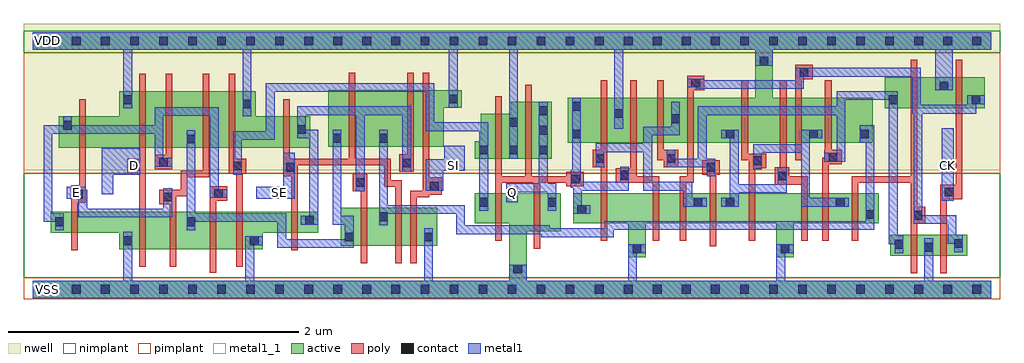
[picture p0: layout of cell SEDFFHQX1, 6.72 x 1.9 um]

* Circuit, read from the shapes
.subckt SEDFFHQX1 CK D E Q SE SI VDD VSS
M1 VSS E n1 VSS nfet w=0.145u l=0.045u
M2 n2 D VSS VSS nfet w=0.26u l=0.045u
M3 n3 E n2 VSS nfet w=0.26u l=0.045u
M4 n4 n1 n3 VSS nfet w=0.26u l=0.045u
M5 VSS n5 n4 VSS nfet w=0.26u l=0.045u
M6 n6 SE VSS VSS nfet w=0.145u l=0.045u
M7 n7 n6 n3 VSS nfet w=0.26u l=0.045u
M8 n8 SE n7 VSS nfet w=0.26u l=0.045u
M9 VSS SI n8 VSS nfet w=0.26u l=0.045u
M10 VSS n9 n5 VSS nfet w=0.205u l=0.045u
M11 Q n9 VSS VSS nfet w=0.26u l=0.045u
M12 VSS n10 n9 VSS nfet w=0.205u l=0.045u
M13 n11 n9 VSS VSS nfet w=0.205u l=0.045u
M14 n10 n12 n11 VSS nfet w=0.205u l=0.045u
M15 n13 n14 n10 VSS nfet w=0.205u l=0.045u
M16 VSS n15 n13 VSS nfet w=0.205u l=0.045u
M17 n16 n13 VSS VSS nfet w=0.205u l=0.045u
M18 n15 n14 n16 VSS nfet w=0.205u l=0.045u
M19 n7 n12 n15 VSS nfet w=0.205u l=0.045u
M20 VSS n12 n14 VSS nfet w=0.145u l=0.045u
M21 n12 CK VSS VSS nfet w=0.145u l=0.045u
M22 VDD E n1 VDD pfet w=0.215u l=0.045u
M23 n17 D VDD VDD pfet w=0.39u l=0.045u
M24 n3 n1 n17 VDD pfet w=0.39u l=0.045u
M25 n18 E n3 VDD pfet w=0.39u l=0.045u
M26 VDD n5 n18 VDD pfet w=0.39u l=0.045u
M27 n6 SE VDD VDD pfet w=0.215u l=0.045u
M28 n7 SE n3 VDD pfet w=0.39u l=0.045u
M29 n19 n6 n7 VDD pfet w=0.39u l=0.045u
M30 VDD SI n19 VDD pfet w=0.39u l=0.045u
M31 VDD n9 n5 VDD pfet w=0.31u l=0.045u
M32 Q n9 VDD VDD pfet w=0.39u l=0.045u
M33 VDD n10 n9 VDD pfet w=0.31u l=0.045u
M34 n20 n9 VDD VDD pfet w=0.31u l=0.045u
M35 n10 n14 n20 VDD pfet w=0.31u l=0.045u
M36 n13 n12 n10 VDD pfet w=0.31u l=0.045u
M37 VDD n15 n13 VDD pfet w=0.31u l=0.045u
M38 n21 n13 VDD VDD pfet w=0.31u l=0.045u
M39 n15 n12 n21 VDD pfet w=0.31u l=0.045u
M40 n7 n14 n15 VDD pfet w=0.31u l=0.045u
M41 VDD n12 n14 VDD pfet w=0.215u l=0.045u
M42 n12 CK VDD VDD pfet w=0.215u l=0.045u
.ends

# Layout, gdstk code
import gdstk
lib = gdstk.Library(unit=1e-6, precision=5e-10)
def R(c, l, rs):  # rectangles x0, y0, x1, y1
    for r in rs: c.add(gdstk.rectangle(r[:2], r[2:], *l))
def A(c, l, x, y, w, h, nx, ny, dx, dy):  # array of equal rectangles
    R(c, l, [(x+i*dx, y+j*dy, x+i*dx+w, y+j*dy+h) for i in range(nx) for j in range(ny)])
def P(c, l, *ps):  # polygons
    for p in ps: c.add(gdstk.Polygon(p, *l))
active = (1, 0)
nwell = (2, 0)
poly = (3, 0)
nimplant = (4, 0)
pimplant = (5, 0)
contact = (6, 0)
metal1 = (7, 0)
metal1_1 = (7, 1)

sedffhqx1 = lib.new_cell('SEDFFHQX1')
R(sedffhqx1, active, [(5.905,0.23,6.435,0.375), (2.12,0.3,2.785,0.56), (5.865,1.245,6.555,1.46)])
P(sedffhqx1, active, [(0,1.77),(6.6,1.77),(6.6,1.65),(5.095,1.65),(5.095,1.32),(5.785,1.32),(5.785,1.01),(3.685,1.01),(3.685,1.32),(4.975,1.32),(4.975,1.65),(0,1.65)],
  [(0.595,1.365),(1.535,1.365),(1.535,1.19),(1.91,1.19),(1.91,0.975),(0.18,0.975),(0.18,1.19),(0.595,1.19)],
  [(2.035,1.37),(2.955,1.37),(2.955,1.25),(2.83,1.25),(2.83,0.98),(2.035,0.98)],
  [(3.29,1.29),(3.575,1.29),(3.575,0.9),(3.045,0.9),(3.045,1.02),(3.085,1.02),(3.085,1.21),(3.29,1.21)],
  [(3.045,0.66),(3.635,0.66),(3.635,0.4),(3.4,0.4),(3.4,0.06),(6.6,0.06),(6.6,-0.06),(0,-0.06),(0,0.06),(3.28,0.06),(3.28,0.455),(3.045,0.455)],
  [(0.125,0.535),(1.965,0.535),(1.965,0.39),(1.585,0.39),(1.585,0.275),(0.595,0.275),(0.595,0.39),(0.125,0.39)],
  [(3.72,0.66),(5.825,0.66),(5.825,0.455),(5.24,0.455),(5.24,0.22),(5.12,0.22),(5.12,0.455),(4.22,0.455),(4.22,0.22),(4.1,0.22),(4.1,0.455),(3.72,0.455)])
R(sedffhqx1, nwell, [(-0.06,0.82,6.66,1.83)])
P(sedffhqx1, poly, [(0.735,1.485),(0.78,1.485),(0.78,0.155),(0.735,0.155),(0.735,0.8),(0.65,0.8),(0.65,0.9),(0.735,0.9)],
  [(0.915,1.485),(0.96,1.485),(0.96,0.825),(0.84,0.825),(0.84,0.925),(0.915,0.925)],
  [(1.17,1.485),(1.215,1.485),(1.215,0.77),(1.065,0.77),(1.065,0.64),(0.99,0.64),(0.99,0.155),(0.945,0.155),(0.945,0.585),(0.87,0.585),(0.87,0.685),(1.02,0.685),(1.02,0.815),(1.17,0.815)],
  [(1.35,1.485),(1.395,1.485),(1.395,0.9),(1.47,0.9),(1.47,0.8),(1.445,0.8),(1.445,0.155),(1.4,0.155),(1.4,0.8),(1.35,0.8)],
  [(0.32,1.31),(0.365,1.31),(0.365,0.595),(0.31,0.595),(0.31,0.27),(0.265,0.27),(0.265,0.715),(0.32,0.715)],
  [(1.725,1.31),(1.77,1.31),(1.77,0.9),(2.175,0.9),(2.175,1.49),(2.22,1.49),(2.22,0.9),(2.465,0.9),(2.465,0.75),(2.54,0.75),(2.54,0.18),(2.495,0.18),(2.495,0.705),(2.42,0.705),(2.42,0.855),(1.825,0.855),(1.825,0.27),(1.78,0.27),(1.78,0.78),(1.725,0.78)],
  [(2.58,1.49),(2.625,1.49),(2.625,0.81),(2.525,0.81),(2.525,0.93),(2.58,0.93)],
  [(2.685,1.49),(2.73,1.49),(2.73,0.77),(2.815,0.77),(2.815,0.65),(2.73,0.65),(2.73,0.635),(2.645,0.635),(2.645,0.18),(2.6,0.18),(2.6,0.68),(2.685,0.68)],
  [(4.505,1.47),(4.625,1.47),(4.625,1.37),(4.55,1.37),(4.55,0.735),(4.5,0.735),(4.5,0.335),(4.455,0.335),(4.455,0.78),(4.505,0.78)],
  [(3.185,1.33),(3.23,1.33),(3.23,0.78),(3.39,0.78),(3.39,1.41),(3.435,1.41),(3.435,0.78),(3.675,0.78),(3.675,0.81),(3.795,0.81),(3.795,0.71),(3.675,0.71),(3.675,0.735),(3.495,0.735),(3.495,0.28),(3.45,0.28),(3.45,0.735),(3.23,0.735),(3.23,0.335),(3.185,0.335)],
  [(3.91,1.44),(3.955,1.44),(3.955,0.335),(3.91,0.335),(3.91,0.84),(3.855,0.84),(3.855,0.96),(3.91,0.96)],
  [(4.115,1.44),(4.16,1.44),(4.16,0.78),(4.315,0.78),(4.315,0.335),(4.27,0.335),(4.27,0.735),(4.015,0.735),(4.015,0.835),(4.115,0.835)],
  [(4.3,1.44),(4.345,1.44),(4.345,0.96),(4.445,0.96),(4.445,0.84),(4.345,0.84),(4.345,0.89),(4.3,0.89)],
  [(4.88,1.44),(4.925,1.44),(4.925,0.935),(5.05,0.935),(5.05,0.835),(4.975,0.835),(4.975,0.335),(4.93,0.335),(4.93,0.89),(4.88,0.89)],
  [(5.25,1.545),(5.37,1.545),(5.37,1.445),(5.295,1.445),(5.295,0.89),(5.25,0.89)],
  [(5.145,1.44),(5.19,1.44),(5.19,0.84),(5.21,0.84),(5.21,0.78),(5.335,0.78),(5.335,0.335),(5.29,0.335),(5.29,0.72),(5.11,0.72),(5.11,0.84),(5.145,0.84)],
  [(5.455,1.44),(5.5,1.44),(5.5,0.96),(5.57,0.96),(5.57,0.86),(5.48,0.86),(5.48,0.335),(5.435,0.335),(5.435,0.905),(5.45,0.905),(5.45,0.96),(5.455,0.96)],
  [(6.045,1.58),(6.09,1.58),(6.09,0.57),(6.145,0.57),(6.145,0.45),(6.09,0.45),(6.09,0.11),(6.045,0.11),(6.045,0.735),(5.685,0.735),(5.685,0.335),(5.64,0.335),(5.64,0.78),(6.045,0.78)],
  [(6.355,1.58),(6.4,1.58),(6.4,0.62),(6.295,0.62),(6.295,0.11),(6.25,0.11),(6.25,0.72),(6.355,0.72)],
  [(2.205,0.795),(2.305,0.795),(2.305,0.18),(2.26,0.18),(2.26,0.675),(2.205,0.675)],
  [(1.22,0.71),(1.34,0.71),(1.34,0.61),(1.265,0.61),(1.265,0.115),(1.22,0.115)],
  [(4.61,0.89),(4.73,0.89),(4.73,0.79),(4.705,0.79),(4.705,0.295),(4.66,0.295),(4.66,0.79),(4.61,0.79)])
R(sedffhqx1, nimplant, [(-0.06,0.08,6.66,0.8), (-0.06,1.63,6.66,1.78)])
R(sedffhqx1, pimplant, [(-0.06,-0.07,6.66,0.08), (-0.06,0.8,6.66,1.63)])
A(sedffhqx1, contact, 0.07, -0.03, 0.06, 0.06, 33, 2, 0.2, 1.71)
A(sedffhqx1, contact, 3.075, 0.93, 0.06, 0.06, 3, 1, 0.205, 0)
R(sedffhqx1, contact, [(3.31,0.11,3.37,0.17), (4.13,0.25,4.19,0.31), (5.15,0.25,5.21,0.31), (6.14,0.26,6.2,0.32), (5.935,0.28,5.995,0.34), (6.345,0.285,6.405,0.345), (0.625,0.305,0.685,0.365), (1.495,0.305,1.555,0.365), (2.15,0.33,2.21,0.39), (2.695,0.33,2.755,0.39), (0.155,0.435,0.215,0.495), (1.06,0.435,1.12,0.495), (1.875,0.445,1.935,0.505), (2.385,0.47,2.445,0.53), (6.065,0.48,6.125,0.54), (5.735,0.485,5.795,0.545), (3.75,0.52,3.81,0.58), (3.075,0.57,3.135,0.63), (3.545,0.57,3.605,0.63), (4.55,0.57,4.61,0.63), (4.77,0.57,4.83,0.63), (5.53,0.57,5.59,0.63), (0.9,0.605,0.96,0.665), (0.285,0.625,0.345,0.685), (1.25,0.63,1.31,0.69), (6.28,0.64,6.34,0.7), (2.735,0.68,2.795,0.74), (2.225,0.705,2.285,0.765), (3.705,0.73,3.765,0.79), (5.13,0.75,5.19,0.81), (4.045,0.755,4.105,0.815), (1.745,0.81,1.805,0.87), (4.64,0.81,4.7,0.87), (0.68,0.82,0.74,0.88), (1.38,0.82,1.44,0.88), (2.545,0.84,2.605,0.9), (0.87,0.845,0.93,0.905), (4.96,0.855,5.02,0.915), (3.875,0.87,3.935,0.93), (4.365,0.87,4.425,0.93), (5.48,0.88,5.54,0.94), (1.06,1.005,1.12,1.065), (2.065,1.01,2.125,1.07), (2.385,1.01,2.445,1.07), (3.715,1.04,3.775,1.1), (4.77,1.04,4.83,1.1), (5.345,1.04,5.405,1.1), (5.695,1.04,5.755,1.1), (3.485,1.065,3.545,1.125), (1.82,1.07,1.88,1.13), (0.21,1.1,0.27,1.16), (3.28,1.12,3.34,1.18), (4.395,1.145,4.455,1.205), (4.005,1.18,4.065,1.24), (3.485,1.2,3.545,1.26), (3.715,1.23,3.775,1.29), (1.445,1.245,1.505,1.305), (0.625,1.275,0.685,1.335), (5.895,1.275,5.955,1.335), (6.465,1.275,6.525,1.335), (2.865,1.28,2.925,1.34), (6.245,1.37,6.305,1.43), (4.535,1.39,4.595,1.45), (5.28,1.465,5.34,1.525), (5.005,1.54,5.065,1.6)])
R(sedffhqx1, metal1, [(6.26,0.61,6.34,1.11)])
P(sedffhqx1, metal1, [(0,1.77),(6.6,1.77),(6.6,1.65),(6.335,1.65),(6.335,1.37),(6.215,1.37),(6.215,1.65),(5.095,1.65),(5.095,1.54),(4.975,1.54),(4.975,1.65),(4.065,1.65),(4.065,1.105),(4.005,1.105),(4.005,1.65),(3.34,1.65),(3.34,0.9),(3.28,0.9),(3.28,1.65),(2.925,1.65),(2.925,1.25),(2.865,1.25),(2.865,1.65),(1.505,1.65),(1.505,1.19),(1.445,1.19),(1.445,1.65),(0.685,1.65),(0.685,1.245),(0.625,1.245),(0.625,1.65),(0,1.65)],
  [(0.84,1.255),(1.28,1.255),(1.28,0.69),(1.34,0.69),(1.34,0.63),(1.22,0.63),(1.22,1.195),(0.9,1.195),(0.9,0.905),(0.96,0.905),(0.96,0.845),(0.84,0.845),(0.84,1.07),(0.135,1.07),(0.135,0.525),(0.215,0.525),(0.215,0.405),(0.155,0.405),(0.155,0.465),(0.075,0.465),(0.075,1.13),(0.21,1.13),(0.21,1.19),(0.27,1.19),(0.27,1.13),(0.84,1.13)],
  [(1.06,1.095),(1.12,1.095),(1.12,0.525),(1.745,0.525),(1.745,0.345),(2.15,0.345),(2.15,0.445),(2.065,0.445),(2.065,1.1),(2.125,1.1),(2.125,0.505),(2.21,0.505),(2.21,0.285),(1.685,0.285),(1.685,0.465),(1.12,0.465),(1.12,0.405),(1.06,0.405)],
  [(0.475,0.97),(0.74,0.97),(0.74,0.79),(0.555,0.79),(0.555,0.655),(0.475,0.655)],
  [(0.235,0.705),(0.365,0.705),(0.365,0.685),(0.375,0.685),(0.375,0.555),(0.9,0.555),(0.9,0.695),(0.96,0.695),(0.96,0.495),(0.315,0.495),(0.315,0.625),(0.235,0.625)],
  [(1.605,1.42),(2.765,1.42),(2.765,1.15),(3.135,1.15),(3.135,0.54),(3.075,0.54),(3.075,1.09),(2.705,1.09),(2.705,1.36),(1.665,1.36),(1.665,1.03),(1.44,1.03),(1.44,0.79),(1.38,0.79),(1.38,1.09),(1.605,1.09)],
  [(1.82,1.26),(2.605,1.26),(2.605,0.81),(2.545,0.81),(2.545,1.2),(2.285,1.2),(2.285,0.675),(2.225,0.675),(2.225,1.2),(1.88,1.2),(1.88,1.1),(1.965,1.1),(1.965,0.445),(1.845,0.445),(1.845,0.505),(1.905,0.505),(1.905,1.04),(1.82,1.04)],
  [(1.725,0.94),(1.805,0.94),(1.805,0.625),(1.54,0.625),(1.54,0.705),(1.725,0.705)],
  [(2.385,1.1),(2.445,1.1),(2.445,0.58),(2.975,0.58),(2.975,0.44),(3.56,0.44),(3.56,0.42),(3.94,0.42),(3.94,0.47),(5.735,0.47),(5.735,1.01),(5.695,1.01),(5.695,1.13),(5.795,1.13),(5.795,0.41),(4,0.41),(4,0.36),(3.5,0.36),(3.5,0.38),(2.915,0.38),(2.915,0.52),(2.445,0.52),(2.445,0.44),(2.385,0.44)],
  [(2.835,0.99),(2.975,0.99),(2.975,0.815),(2.825,0.815),(2.825,0.68),(2.705,0.68),(2.705,0.895),(2.835,0.895)],
  [(3.485,1.29),(3.545,1.29),(3.545,0.73),(3.605,0.73),(3.605,0.54),(3.545,0.54),(3.545,0.67),(3.34,0.67),(3.34,0.6),(3.26,0.6),(3.26,0.73),(3.485,0.73)],
  [(3.715,1.32),(3.775,1.32),(3.775,0.74),(4.045,0.74),(4.045,0.845),(4.105,0.845),(4.105,0.68),(3.78,0.68),(3.78,0.58),(3.84,0.58),(3.84,0.52),(3.72,0.52),(3.72,0.7),(3.705,0.7),(3.705,0.82),(3.715,0.82)],
  [(5.25,1.525),(6.115,1.525),(6.115,1.27),(6.435,1.27),(6.435,1.335),(6.555,1.335),(6.555,1.275),(6.495,1.275),(6.495,1.21),(6.125,1.21),(6.125,0.51),(6.36,0.51),(6.36,0.375),(6.405,0.375),(6.405,0.255),(6.345,0.255),(6.345,0.315),(6.3,0.315),(6.3,0.45),(6.065,0.45),(6.065,1.21),(6.055,1.21),(6.055,1.465),(5.31,1.465),(5.31,1.38),(4.565,1.38),(4.565,1.39),(4.505,1.39),(4.505,1.45),(4.625,1.45),(4.625,1.44),(5.25,1.44)],
  [(4.395,1.29),(4.455,1.29),(4.455,1.06),(4.265,1.06),(4.265,0.74),(4.54,0.74),(4.54,0.63),(4.64,0.63),(4.64,0.57),(4.48,0.57),(4.48,0.68),(4.205,0.68),(4.205,0.945),(3.935,0.945),(3.935,0.84),(3.875,0.84),(3.875,1.005),(4.205,1.005),(4.205,1.12),(4.395,1.12)],
  [(5.535,1.365),(5.955,1.365),(5.955,0.37),(5.995,0.37),(5.995,0.25),(5.935,0.25),(5.935,0.31),(5.895,0.31),(5.895,1.305),(5.595,1.305),(5.595,0.88),(5.45,0.88),(5.45,0.94),(5.535,0.94),(5.535,1.2),(4.64,1.2),(4.64,0.9),(4.7,0.9),(4.7,0.78),(4.64,0.78),(4.64,0.84),(4.365,0.84),(4.365,0.96),(4.425,0.96),(4.425,0.9),(4.58,0.9),(4.58,1.26),(5.535,1.26)],
  [(0.625,0.395),(0.685,0.395),(0.685,0.06),(1.465,0.06),(1.465,0.365),(1.585,0.365),(1.585,0.305),(1.525,0.305),(1.525,0.06),(2.695,0.06),(2.695,0.42),(2.755,0.42),(2.755,0.06),(3.28,0.06),(3.28,0.17),(3.4,0.17),(3.4,0.06),(4.1,0.06),(4.1,0.31),(4.22,0.31),(4.22,0.25),(4.16,0.25),(4.16,0.06),(5.12,0.06),(5.12,0.31),(5.24,0.31),(5.24,0.25),(5.18,0.25),(5.18,0.06),(6.14,0.06),(6.14,0.35),(6.2,0.35),(6.2,0.06),(6.6,0.06),(6.6,-0.06),(0,-0.06),(0,0.06),(0.625,0.06)],
  [(4.74,1.1),(4.86,1.1),(4.86,0.725),(5.13,0.725),(5.13,0.84),(5.19,0.84),(5.19,0.665),(4.86,0.665),(4.86,0.57),(4.74,0.57),(4.74,0.63),(4.8,0.63),(4.8,1.04),(4.74,1.04)],
  [(5.29,1.1),(5.435,1.1),(5.435,1.04),(5.35,1.04),(5.35,0.63),(5.62,0.63),(5.62,0.57),(5.29,0.57),(5.29,0.94),(5.02,0.94),(5.02,0.825),(4.96,0.825),(4.96,1),(5.29,1)])
R(sedffhqx1, metal1_1, [(0.06,-0.04,0.14,0.04), (0.26,0.625,0.34,0.705), (1.66,0.625,1.74,0.705), (3.26,0.625,3.34,0.705), (0.66,0.815,0.74,0.895), (2.86,0.815,2.94,0.895), (6.26,0.815,6.34,0.895), (0.06,1.67,0.14,1.75)])
sedffhqx1.add(gdstk.Label('Q', (3.3,0.665), layer=7, texttype=1))
sedffhqx1.add(gdstk.Label('CK', (6.3,0.855), layer=7, texttype=1))
sedffhqx1.add(gdstk.Label('SI', (2.9,0.855), layer=7, texttype=1))
sedffhqx1.add(gdstk.Label('SE', (1.7,0.665), layer=7, texttype=1))
sedffhqx1.add(gdstk.Label('D', (0.7,0.855), layer=7, texttype=1))
sedffhqx1.add(gdstk.Label('E', (0.3,0.665), layer=7, texttype=1))
sedffhqx1.add(gdstk.Label('VDD', (0.1,1.71), layer=7, texttype=1))
sedffhqx1.add(gdstk.Label('VSS', (0.1,0), layer=7, texttype=1))
sedffhqx1.add(gdstk.Label('SEDFFHQX1', (0,0), layer=63, texttype=0))

lib.write_gds('SEDFFHQX1.gds')
